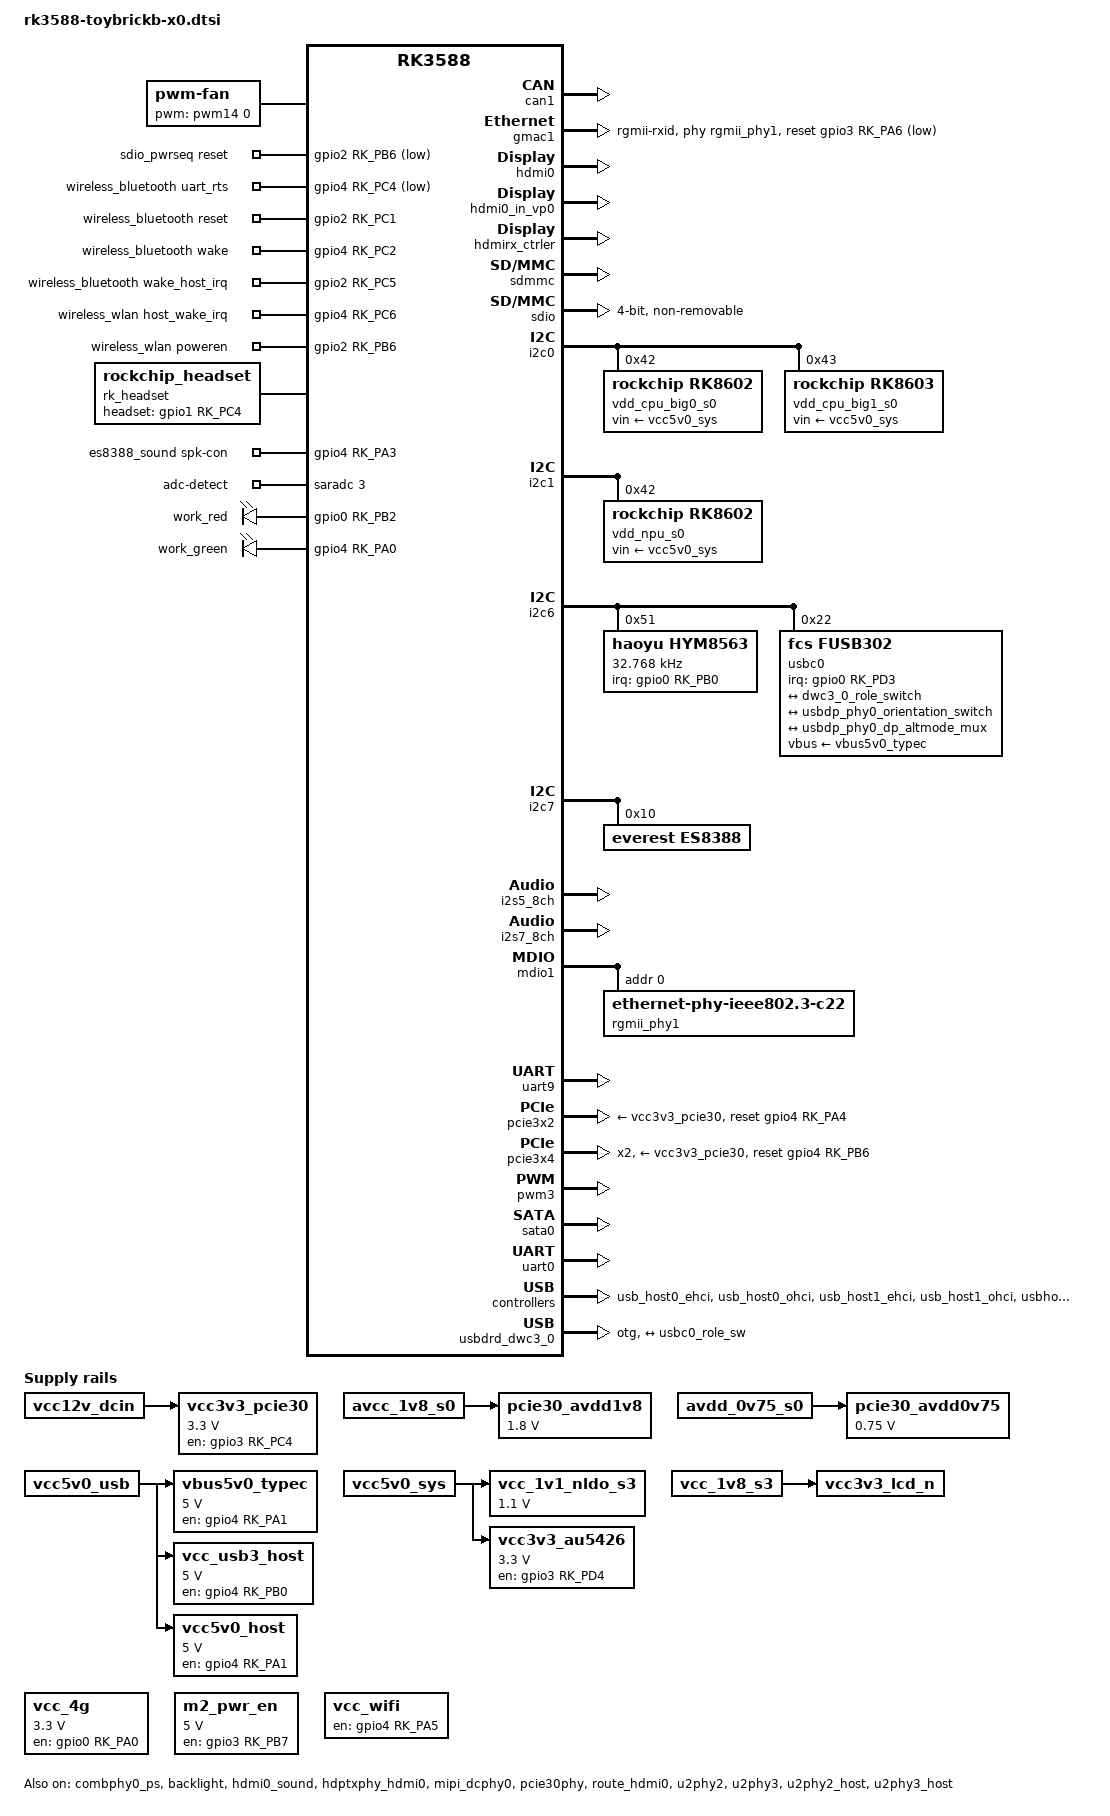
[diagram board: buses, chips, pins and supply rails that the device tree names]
// SPDX-License-Identifier: (GPL-2.0+ OR MIT)
/*
 * Copyright (c) 2021 Rockchip Electronics Co., Ltd.
 *
 */

#include "dt-bindings/usb/pd.h"
#include "rk3588.dtsi"
#include "rk3588-toybrickb.dtsi"
#include "rk3588-rk806-single.dtsi"

/ {
	/* If hdmirx node is disabled, delete the reserved-memory node here. */
	reserved-memory {
		#address-cells = <2>;
		#size-cells = <2>;
		ranges;

		/* Reserve 256MB memory for hdmirx-controller@fdee0000 */
		cma {
			compatible = "shared-dma-pool";
			reusable;
			reg = <0x0 (256 * 0x100000) 0x0 (256 * 0x100000)>;
			linux,cma-default;
		};
	};
	
	vcc_4g: vcc-4g-regulator {
		compatible = "regulator-fixed";
		enable-active-high;
		gpio = <&gpio0 RK_PA0 GPIO_ACTIVE_HIGH>;
		pinctrl-names = "default";
		pinctrl-0 = <&vcc_4g_drv>;
		regulator-name = "vcc_4g";
		regulator-always-on;
		regulator-boot-on;
		regulator-min-microvolt = <3300000>;
		regulator-max-microvolt = <3300000>;
	}; 

	fan: pwm-fan {
		compatible = "pwm-fan";
		#cooling-cells = <2>;
		pwms = <&pwm14 0 50000 0>;
	};

	m2_pwr_en: m2-pwr-en {
		compatible = "regulator-fixed";
		enable-active-high;
		gpio = <&gpio3 RK_PB7 GPIO_ACTIVE_HIGH>;
		pinctrl-names = "default";
		pinctrl-0 = <&m2_pcie30_en>;
		regulator-name = "m2_pcie30_en";
		regulator-always-on;
		regulator-boot-on;
		regulator-min-microvolt = <5000000>;
		regulator-max-microvolt = <5000000>;
	};

	vcc3v3_pcie30: vcc3v3-pcie30 {
		compatible = "regulator-fixed";
		regulator-name = "vcc3v3_pcie30";
		regulator-min-microvolt = <3300000>;
		regulator-max-microvolt = <3300000>;
		enable-active-high;
		gpios = <&gpio3 RK_PC4 GPIO_ACTIVE_HIGH>;
		startup-delay-us = <5000>;
		vin-supply = <&vcc12v_dcin>;
	};

	pcie30_avdd1v8: pcie30-avdd1v8 {
		compatible = "regulator-fixed";
		regulator-name = "pcie30_avdd1v8";
		regulator-boot-on;
		regulator-always-on;
		regulator-min-microvolt = <1800000>;
		regulator-max-microvolt = <1800000>;
		vin-supply = <&avcc_1v8_s0>;
	};

	pcie30_avdd0v75: pcie30-avdd0v75 {
		compatible = "regulator-fixed";
		regulator-name = "pcie30_avdd0v75";
		regulator-boot-on;
		regulator-always-on;
		regulator-min-microvolt = <750000>;
		regulator-max-microvolt = <750000>;
		vin-supply = <&avdd_0v75_s0>;
	};

	reserved-memory {
		#address-cells = <2>;
		#size-cells = <2>;
		ranges;
		dma_trans: dma-trans@3c000000 {
			reg = <0x0 0x3c000000 0x0 0x04000000>;
		};
	};

	vbus5v0_typec: vbus5v0-typec {
		compatible = "regulator-fixed";
		regulator-name = "vbus5v0_typec";
		regulator-min-microvolt = <5000000>;
		regulator-max-microvolt = <5000000>;
		enable-active-high;
		gpio = <&gpio4 RK_PA1 GPIO_ACTIVE_HIGH>;
		vin-supply = <&vcc5v0_usb>;
		pinctrl-names = "default";
	};

	vcc_usb3_host: vcc-usb3-host {
		compatible = "regulator-fixed";
		regulator-name = "vcc_usb3_host";
		regulator-boot-on;
		regulator-always-on;
		regulator-min-microvolt = <5000000>;
		regulator-max-microvolt = <5000000>;
		enable-active-high;
		gpio = <&gpio4 RK_PB0 GPIO_ACTIVE_HIGH>;
		vin-supply = <&vcc5v0_usb>;
		pinctrl-names = "default";
		pinctrl-0 = <&vcc_usb3_host_en>;
	};


	vcc_1v1_nldo_s3: vcc-1v1-nldo-s3 {
		compatible = "regulator-fixed";
		regulator-name = "vcc_1v1_nldo_s3";
		regulator-always-on;
		regulator-boot-on;
		regulator-min-microvolt = <1100000>;
		regulator-max-microvolt = <1100000>;
		vin-supply = <&vcc5v0_sys>;
	};

	vcc3v3_au5426: vcc3v3-au5426 {
		compatible = "regulator-fixed";
		regulator-name = "vcc3v3_au5426";
		regulator-min-microvolt = <3300000>;
		regulator-max-microvolt = <3300000>;
		enable-active-high;
		regulator-boot-on;
		regulator-always-on;
		gpios = <&gpio3 RK_PD4 GPIO_ACTIVE_HIGH>;
		startup-delay-us = <5000>;
		vin-supply = <&vcc5v0_sys>;
	};

	vcc3v3_lcd_n: vcc3v3-lcd0-n {
		compatible = "regulator-fixed";
		regulator-name = "vcc3v3_lcd0_n";
		regulator-boot-on;
		enable-active-high;
		vin-supply = <&vcc_1v8_s3>;
	};

	vcc5v0_host: vcc5v0-host {
		compatible = "regulator-fixed";
		regulator-name = "vcc5v0_host";
		regulator-boot-on;
		regulator-always-on;
		regulator-min-microvolt = <5000000>;
		regulator-max-microvolt = <5000000>;
		enable-active-high;
		gpio = <&gpio4 RK_PA1 GPIO_ACTIVE_HIGH>;
		vin-supply = <&vcc5v0_usb>;
		pinctrl-names = "default";
		pinctrl-0 = <&vcc5v0_host_en>;
	};

	vcc_wifi: vcc-wifi-regulator {
		compatible = "regulator-fixed";
		gpio = <&gpio4 RK_PA5 GPIO_ACTIVE_HIGH>;
		pinctrl-names = "default";
		pinctrl-0 = <&wifi_pwr>;
		regulator-name = "vcc_wifi";
		enable-active-high;
		regulator-boot-on;
		regulator-always-on;
	};

	sdio_pwrseq: sdio-pwrseq {
		compatible = "mmc-pwrseq-simple";
		clocks = <&hym8563>;
		clock-names = "ext_clock";
		pinctrl-names = "default";
		pinctrl-0 = <&wifi_enable_h>;
		/*
		 * On the module itself this is one of these (depending
		 * on the actual card populated):
		 * - SDIO_RESET_L_WL_REG_ON
		 * - PDN (power down when low)
		 */
		post-power-on-delay-ms = <200>;
		reset-gpios = <&gpio2 RK_PB6 GPIO_ACTIVE_LOW>;
	};

	wireless_bluetooth: wireless-bluetooth {
		compatible = "bluetooth-platdata";
		clocks = <&hym8563>;
		clock-names = "ext_clock";
		uart_rts_gpios = <&gpio4 RK_PC4 GPIO_ACTIVE_LOW>;
		pinctrl-names = "default", "rts_gpio";
		pinctrl-0 = <&uart9m0_rtsn>, <&bt_gpio>;
		pinctrl-1 = <&uart9_gpios>;
		BT,reset_gpio    = <&gpio2 RK_PC1 GPIO_ACTIVE_HIGH>;//BT_REG_ON_H
		BT,wake_gpio     = <&gpio4 RK_PC2 GPIO_ACTIVE_HIGH>;//HOST_WAKE_BT_H
		BT,wake_host_irq = <&gpio2 RK_PC5 GPIO_ACTIVE_HIGH>;//BT_WAKE_HOST_H
		status = "okay";
	};

	wireless_wlan: wireless-wlan {
		compatible = "wlan-platdata";
		wifi_chip_type = "ap6275s";
		pinctrl-names = "default";
		pinctrl-0 = <&wifi_host_wake_irq>;
		WIFI,host_wake_irq = <&gpio4 RK_PC6 GPIO_ACTIVE_HIGH>;
		WIFI,poweren_gpio = <&gpio2 RK_PB6 GPIO_ACTIVE_HIGH>;
		status = "okay";
	};

	rk_headset: rk-headset {
		status = "okay";
		compatible = "rockchip_headset";
		headset_gpio = <&gpio1 RK_PC4 GPIO_ACTIVE_HIGH>;
		pinctrl-names = "default";
		pinctrl-0 = <&hp_det>;
	};

	es8388_sound: es8388-sound {
		status = "okay";
		compatible = "rockchip,multicodecs-card";
		rockchip,card-name = "rockchip-es8388";
		io-channels = <&saradc 3>;
		io-channel-names = "adc-detect";
		keyup-threshold-microvolt = <1800000>;
		poll-interval = <100>;
		spk-con-gpio = <&gpio4 RK_PA3 GPIO_ACTIVE_HIGH>;
		rockchip,format = "i2s";
		rockchip,mclk-fs = <256>;
		rockchip,cpu = <&i2s0_8ch>;
		rockchip,codec = <&es8388>;
		rockchip,audio-routing =
			"Headphone", "LOUT1",
			"Headphone", "ROUT1",
			"Speaker", "LOUT2",
			"Speaker", "ROUT2",
			"Headphone", "Headphone Power",
			"Headphone", "Headphone Power",
			"Speaker", "Speaker Power",
			"Speaker", "Speaker Power",
			"LINPUT1", "Main Mic",
			"LINPUT2", "Main Mic",
			"RINPUT1", "Headset Mic",
			"RINPUT2", "Headset Mic";
		pinctrl-names = "default";
		pinctrl-0 = <&spk_ctrl>;
		play-pause-key {
			label = "playpause";
			linux,code = <KEY_PLAYPAUSE>;
			press-threshold-microvolt = <2000>;
		};
	};

	hdmiin_dc: hdmiin-dc {
			compatible = "rockchip,dummy-codec";
		#sound-dai-cells = <0>;
	};
	
	hdmiin-sound {
		compatible = "simple-audio-card";
		simple-audio-card,format = "i2s";
		simple-audio-card,name = "rockchip,hdmiin";
		simple-audio-card,bitclock-master = <&dailink0_master>;
		simple-audio-card,frame-master = <&dailink0_master>;
		status = "okay";
		simple-audio-card,cpu {
			sound-dai = <&i2s7_8ch>;
		};
		dailink0_master: simple-audio-card,codec {
			sound-dai = <&hdmiin_dc>;
		};
	};
};

&combphy0_ps {
	status = "okay";
};

&can1 {
	status = "okay";
	pinctrl-0 = <&can1m1_pins>;
};

&backlight {
	pwms = <&pwm3 0 25000 0>;
	status = "okay";
};

/*
 * mipi_dcphy0 needs to be enabled
 * when dsi0 is enabled
 */
&dsi0 {
	status = "disabled";
};

&dsi0_in_vp2 {
	status = "disabled";
};

&dsi0_in_vp3 {
	status = "disabled";
};

&gmac1 {
	/* Use rgmii-rxid mode to disable rx delay inside Soc */
	phy-mode = "rgmii-rxid";
	clock_in_out = "output";

	snps,reset-gpio = <&gpio3 RK_PA6 GPIO_ACTIVE_LOW>;
	snps,reset-active-low;
	/* Reset time is 20ms, 100ms for rtl8211f */
	snps,reset-delays-us = <0 20000 100000>;

	pinctrl-names = "default";
	pinctrl-0 = <&gmac1_miim
		     &gmac1_tx_bus2
		     &gmac1_rx_bus2
		     &gmac1_rgmii_clk
		     &gmac1_rgmii_bus>;

	tx_delay = <0x33>;
	/* rx_delay = <0x4f>; */

	phy-handle = <&rgmii_phy1>;
	status = "okay";
};

&hdmi0 {
        enable-gpios = <&gpio4 RK_PB1 GPIO_ACTIVE_HIGH>;
        status = "okay";
};

&hdmi0_in_vp0 {
        status = "okay";
};

&hdmi0_sound {
        status = "okay";
};

&hdptxphy_hdmi0 {
        status = "okay";
};


/* Should work with at least 128MB cma reserved above. */
&hdmirx_ctrler {
	status = "okay";

	/* Effective level used to trigger HPD: 0-low, 1-high */
	hpd-trigger-level = <1>;
	hdmirx-det-gpios = <&gpio1 29 GPIO_ACTIVE_LOW>;
};

&leds {
	compatible = "gpio-leds";

	work-red {
		gpios = <&gpio0 RK_PB2 GPIO_ACTIVE_HIGH>;
		label = "work_red";
		default-state = "off";
	};

	work-green {
		gpios = <&gpio4 RK_PA0 GPIO_ACTIVE_HIGH>;
		label = "work_green";
		default-state = "off";
	};
};

&sdmmc {
	status = "okay";
};

&sdio {
	max-frequency = <150000000>;
	no-sd;
	no-mmc;
	bus-width = <4>;
	disable-wp;
	cap-sd-highspeed;
	cap-sdio-irq;
	keep-power-in-suspend;
	mmc-pwrseq = <&sdio_pwrseq>;
	non-removable;
	pinctrl-names = "default";
	pinctrl-0 = <&sdiom0_pins>;
	sd-uhs-sdr104;
	status = "okay";
};

&i2c0 {
	status = "okay";
	pinctrl-0 = <&i2c0m2_xfer>;

	vdd_cpu_big0_s0: vdd_cpu_big0_mem_s0: rk8602@42 {
		compatible = "rockchip,rk8602";
		reg = <0x42>;
		vin-supply = <&vcc5v0_sys>;
		regulator-compatible = "rk860x-reg";
		regulator-name = "vdd_cpu_big0_s0";
		regulator-min-microvolt = <550000>;
		regulator-max-microvolt = <1050000>;
		regulator-ramp-delay = <2300>;
		rockchip,suspend-voltage-selector = <1>;
		regulator-boot-on;
		regulator-always-on;
		regulator-state-mem {
			regulator-off-in-suspend;
		};
	};

	vdd_cpu_big1_s0: vdd_cpu_big1_mem_s0: rk8603@43 {
		compatible = "rockchip,rk8603";
		reg = <0x43>;
		vin-supply = <&vcc5v0_sys>;
		regulator-compatible = "rk860x-reg";
		regulator-name = "vdd_cpu_big1_s0";
		regulator-min-microvolt = <550000>;
		regulator-max-microvolt = <1050000>;
		regulator-ramp-delay = <2300>;
		rockchip,suspend-voltage-selector = <1>;
		regulator-boot-on;
		regulator-always-on;
		regulator-state-mem {
			regulator-off-in-suspend;
		};
	};
};

&i2c1 {
	status = "okay";
	pinctrl-0 = <&i2c1m2_xfer>;

	vdd_npu_s0: vdd_npu_mem_s0: rk8602@42 {
		compatible = "rockchip,rk8602";
		reg = <0x42>;
		vin-supply = <&vcc5v0_sys>;
		regulator-compatible = "rk860x-reg";
		regulator-name = "vdd_npu_s0";
		regulator-min-microvolt = <550000>;
		regulator-max-microvolt = <950000>;
		regulator-ramp-delay = <2300>;
		rockchip,suspend-voltage-selector = <1>;
		regulator-boot-on;
		regulator-always-on;
		regulator-state-mem {
			regulator-off-in-suspend;
		};
	};
};

&i2c6 {
	status = "okay";

	hym8563: hym8563@51 {
		compatible = "haoyu,hym8563";
		reg = <0x51>;
		#clock-cells = <0>;
		clock-frequency = <32768>;
		clock-output-names = "hym8563";
		pinctrl-names = "default";
		pinctrl-0 = <&hym8563_int>;
		interrupt-parent = <&gpio0>;
		interrupts = <RK_PB0 IRQ_TYPE_LEVEL_LOW>;
		wakeup-source;
		status = "okay";
	};

	usbc0: fusb302@22 {
		compatible = "fcs,fusb302";
		reg = <0x22>;
		interrupt-parent = <&gpio0>;
		interrupts = <RK_PD3 IRQ_TYPE_LEVEL_LOW>;
		pinctrl-names = "default";
		pinctrl-0 = <&usbc0_int>;
		vbus-supply = <&vbus5v0_typec>;
		status = "okay";

		ports {
			#address-cells = <1>;
			#size-cells = <0>;

			port@0 {
				reg = <0>;
				usbc0_role_sw: endpoint@0 {
					remote-endpoint = <&dwc3_0_role_switch>;
				};
			};
		};

		usb_con: connector {
			compatible = "usb-c-connector";
			label = "USB-C";
			data-role = "dual";
			power-role = "dual";
			try-power-role = "sink";
			op-sink-microwatt = <1000000>;
			sink-pdos =
				<PDO_FIXED(5000, 1000, PDO_FIXED_USB_COMM)>;
			source-pdos =
				<PDO_FIXED(5000, 3000, PDO_FIXED_USB_COMM)>;

			altmodes {
				#address-cells = <1>;
				#size-cells = <0>;

				altmode@0 {
					reg = <0>;
					svid = <0xff01>;
					vdo = <0xffffffff>;
				};
			};

			ports {
				#address-cells = <1>;
				#size-cells = <0>;

				port@0 {
					reg = <0>;
					usbc0_orien_sw: endpoint {
						remote-endpoint = <&usbdp_phy0_orientation_switch>;
					};
				};

				port@1 {
					reg = <1>;
					dp_altmode_mux: endpoint {
						remote-endpoint = <&usbdp_phy0_dp_altmode_mux>;
					};
				};
			};
		};
	};
};

&i2c7 {
	status = "okay";

	es8388: es8388@10 {
		status = "okay";
		#sound-dai-cells = <0>;
		compatible = "everest,es8388", "everest,es8323";
		reg = <0x10>;
		clocks = <&cru I2S0_8CH_MCLKOUT>;
		clock-names = "mclk";
		assigned-clocks = <&cru I2S0_8CH_MCLKOUT>;
		assigned-clock-rates = <12288000>;
		pinctrl-names = "default";
		pinctrl-0 = <&i2s0_mclk>;
	};
};

&i2s5_8ch {
	status = "okay";
};

&i2s7_8ch {
	status = "okay";
};

&mdio1 {
	rgmii_phy1: phy@0 {
		compatible = "ethernet-phy-ieee802.3-c22";
		reg = <0x0>;
	};
};

&mipi_dcphy0 {
	status = "okay";
};

&uart9 {
	status = "okay";
	pinctrl-names = "default";
	pinctrl-0 = <&uart9m0_xfer &uart9m0_ctsn>;
};

&pcie30phy {
	rockchip,pcie30-phymode = <PHY_MODE_PCIE_NANBNB>;
	status = "okay";
};

&pcie3x2 {
	reset-gpios = <&gpio4 RK_PA4 GPIO_ACTIVE_HIGH>;
	status = "okay";
	vpcie3v3-supply = <&vcc3v3_pcie30>;
};

&pcie3x4 {
	num-lanes = <2>;
	reset-gpios = <&gpio4 RK_PB6 GPIO_ACTIVE_HIGH>;
	vpcie3v3-supply = <&vcc3v3_pcie30>;
	status = "okay";
};

&pinctrl {

	usb {
		vcc5v0_host_en: vcc5v0-host-en {
			rockchip,pins = <4 RK_PA1 RK_FUNC_GPIO &pcfg_pull_none>;
		};

		vcc_usb3_host_en: vcc-usb3-host-en {
			rockchip,pins = <4 RK_PB0 RK_FUNC_GPIO &pcfg_pull_none>;
		};
	};

	usb-typec {
		usbc0_int: usbc0-int {
			rockchip,pins = <0 RK_PD3 RK_FUNC_GPIO &pcfg_pull_up>;
		};

		typec5v_pwren: typec5v-pwren {
			rockchip,pins = <4 RK_PA1 RK_FUNC_GPIO &pcfg_pull_none>;
		};
	};

	hym8563 {
		hym8563_int: hym8563-int {
			rockchip,pins = <0 RK_PB0 RK_FUNC_GPIO &pcfg_pull_up>;
		};
	};

	m2 {
		m2_pcie30_en: m2-pcie30-en {
			rockchip,pins = <3 RK_PB7 RK_FUNC_GPIO &pcfg_pull_up>;
		};
	};

	sdio-pwrseq {
		wifi_enable_h: wifi-enable-h {
			rockchip,pins = <2 RK_PB6 RK_FUNC_GPIO &pcfg_pull_none>;
		};
	};

	wireless-bluetooth {
		uart9_gpios: uart9-gpios {
			rockchip,pins = <4 RK_PC4 RK_FUNC_GPIO &pcfg_pull_none>;
		};

		bt_gpio: bt-gpio {
			rockchip,pins =
				<2 RK_PC1 RK_FUNC_GPIO &pcfg_pull_none>,
				<2 RK_PC5 RK_FUNC_GPIO &pcfg_pull_up>,
				<4 RK_PC2 RK_FUNC_GPIO &pcfg_pull_down>;
		};
	};

	wireless-wlan {
		wifi_host_wake_irq: wifi-host-wake-irq {
			rockchip,pins = <4 RK_PC6 RK_FUNC_GPIO &pcfg_pull_down>;
		};

		wifi_pwr: wifi-pwr {
			rockchip,pins = <4 RK_PA5 RK_FUNC_GPIO &pcfg_pull_none>;
		};
	};

	audio {
		hp_det: hp-det {
			rockchip,pins = <1 RK_PC4 RK_FUNC_GPIO &pcfg_pull_none>;
		};

		spk_ctrl: spk-ctrl {
			rockchip,pins = <4 RK_PA3 RK_FUNC_GPIO &pcfg_output_high>;
		};
	};
	
	4g {
		vcc_4g_drv: vcc-4g-drv {
			rockchip,pins =
				<1 RK_PB4 RK_FUNC_GPIO &pcfg_output_low>,//LTE_PWRON
				<0 RK_PA0 RK_FUNC_GPIO &pcfg_output_high>, //4G_ENABLE
				<1 RK_PB5 RK_FUNC_GPIO &pcfg_output_low>,//4G_RESET
				<1 RK_PA6 RK_FUNC_GPIO &pcfg_output_high>;//4G_Flight_mode
		};

	};

};

&pwm3 {
	status = "okay";
};

&pwm14 {
	status = "disabled";
};

&route_dsi0 {
	status = "disabled";
	connect = <&vp3_out_dsi0>;
};

&route_hdmi0 {
	status = "okay";
};

&sata0 {
	status = "okay";
};

&uart0 {
	status = "okay";
	pinctrl-0 = <&uart0m0_xfer &uart0_rtsn>;
};

&u2phy2 {
	status = "okay";
};

&u2phy3 {
	status = "okay";
};

&u2phy1_otg {
	phy-supply = <&vcc5v0_host>;
};

&u2phy2_host {
	status = "okay";
};

&u2phy3_host {
	status = "okay";
};

&usb_host0_ehci {
	status = "okay";
};

&usb_host0_ohci {
	status = "okay";
};

&usb_host1_ehci {
	status = "okay";
};

&usb_host1_ohci {
	status = "okay";
};

&usbdp_phy0 {
	orientation-switch;
	svid = <0xff01>;
	sbu1-dc-gpios = <&gpio4 RK_PA6 GPIO_ACTIVE_HIGH>;
	sbu2-dc-gpios = <&gpio4 RK_PA7 GPIO_ACTIVE_HIGH>;

	port {
		#address-cells = <1>;
		#size-cells = <0>;
		usbdp_phy0_orientation_switch: endpoint@0 {
			reg = <0>;
			remote-endpoint = <&usbc0_orien_sw>;
		};

		usbdp_phy0_dp_altmode_mux: endpoint@1 {
			reg = <1>;
			remote-endpoint = <&dp_altmode_mux>;
		};
	};
};

&usbdrd_dwc3_0 {
	dr_mode = "otg";
	usb-role-switch;
	port {
		#address-cells = <1>;
		#size-cells = <0>;
		dwc3_0_role_switch: endpoint@0 {
			reg = <0>;
			remote-endpoint = <&usbc0_role_sw>;
		};
	};
};

&usbhost3_0 {
	status = "okay";
};

&usbhost_dwc3_0 {
	status = "okay";
};

